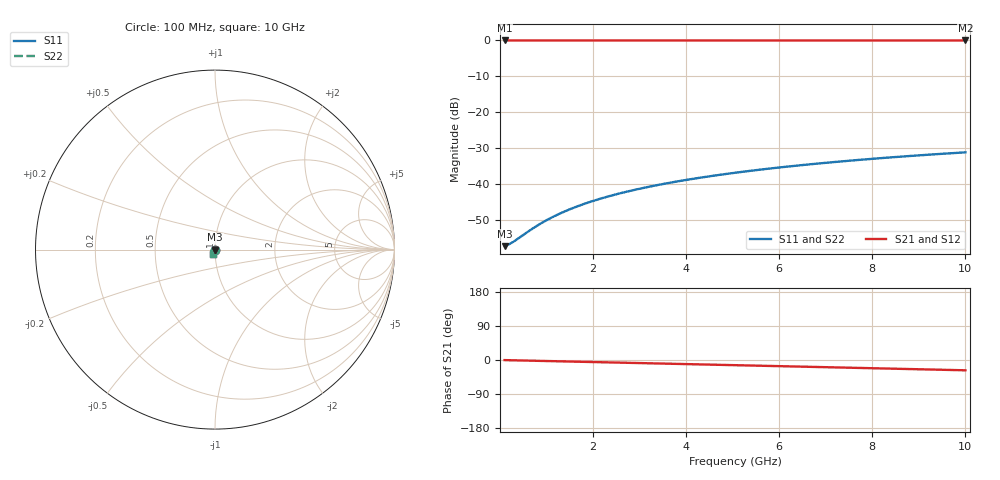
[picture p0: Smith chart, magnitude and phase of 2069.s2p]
# Hz S RI R 50.00
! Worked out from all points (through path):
!   100 points, 100 MHz to 10 GHz, reference 50 ohm
!   highest |S21| = -0.01 dB at 100 MHz (marker M1); lowest = 0.0 dB at 10 GHz (marker M2)
!   group delay of S21, straight-line fit = 7.55 ps
!   lowest |S11| = -57.4 dB at 100 MHz (marker M3), VSWR 1.00, Z = 50.1 - j0.0286 ohm
!   |S11| at or under -10 dB: start of sweep to end of sweep
!   |S22| runs from -57.4 to -31.2 dB; largest |S21 - S12| = 0
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1e8  0.00132 -0.000286  0.9987 -0.0047  0.9987 -0.0047  0.00132 -0.000286
2e8  0.00132 -0.000572  0.9986 -0.00939  0.9986 -0.00939  0.00132 -0.000572
3e8  0.00132 -0.000857  0.9986 -0.0141  0.9986 -0.0141  0.00132 -0.000857
7e8  0.00127 -0.002  0.9981 -0.0329  0.9981 -0.0329  0.00127 -0.002
8e8  0.00126 -0.00229  0.9979 -0.0376  0.9979 -0.0376  0.00126 -0.00229
1e9  0.00121 -0.00286  0.9975 -0.0469  0.9975 -0.0469  0.00121 -0.00286
1.2e9  0.00115 -0.00343  0.997 -0.0563  0.997 -0.0563  0.00115 -0.00343
1.4e9  0.00108 -0.004  0.9964 -0.0657  0.9964 -0.0657  0.00108 -0.004
1.6e9  0.001 -0.00457  0.9957 -0.0751  0.9957 -0.0751  0.001 -0.00457
1.8e9  0.000911 -0.00514  0.995 -0.0845  0.995 -0.0845  0.000911 -0.00514
2.1e9  0.000753 -0.006  0.9937 -0.0985  0.9937 -0.0985  0.000753 -0.006
2.5e9  0.000505 -0.00713  0.9916 -0.1172  0.9916 -0.1172  0.000505 -0.00713
2.9e9  0.000214 -0.00825  0.9892 -0.1359  0.9892 -0.1359  0.000214 -0.00825
3.4e9  -0.00021 -0.00965  0.9857 -0.1592  0.9857 -0.1592  -0.00021 -0.00965
3.8e9  -0.000597 -0.0108  0.9825 -0.1778  0.9825 -0.1778  -0.000597 -0.0108
4.2e9  -0.00103 -0.0118  0.9789 -0.1964  0.9789 -0.1964  -0.00103 -0.0118
5.1e9  -0.00214 -0.0142  0.9696 -0.2379  0.9696 -0.2379  -0.00214 -0.0142
5.9e9  -0.0033 -0.0163  0.9598 -0.2745  0.9598 -0.2745  -0.0033 -0.0163
6.7e9  -0.00462 -0.0182  0.9486 -0.3108  0.9486 -0.3108  -0.00462 -0.0182
7.5e9  -0.00607 -0.0201  0.936 -0.3467  0.936 -0.3467  -0.00607 -0.0201
8.4e9  -0.00787 -0.022  0.9201 -0.3865  0.9201 -0.3865  -0.00787 -0.022
1e10  -0.0114 -0.025  0.8877 -0.4558  0.8877 -0.4558  -0.0114 -0.025
